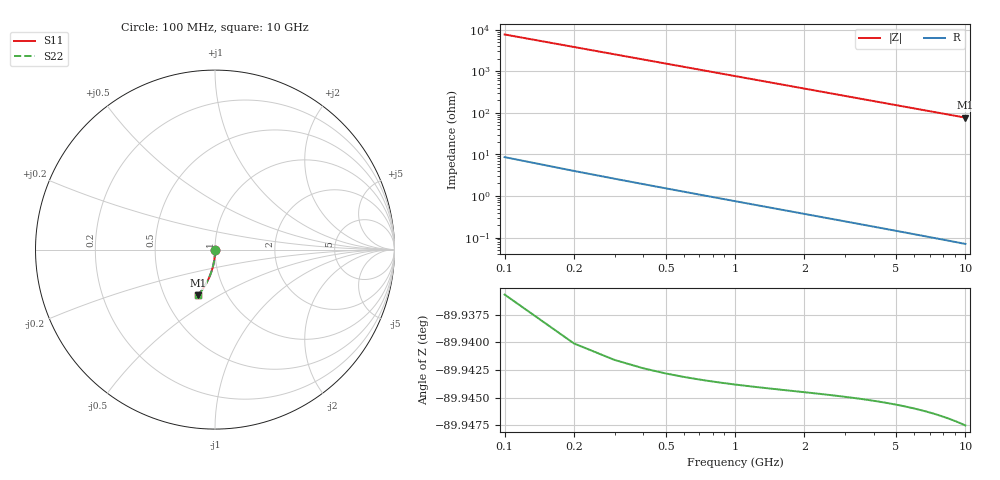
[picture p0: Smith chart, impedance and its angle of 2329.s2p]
# Hz S RI R 50.00
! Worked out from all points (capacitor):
!   100 points, 100 MHz to 10 GHz, reference 50 ohm
!   read as one part in shunt: C = 207 fF near 100 MHz
!   lowest |Z| = 76.8 ohm at 10 GHz (marker M1)
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1e8  0.000171 -0.00284  0.9998 -0.00368  0.9998 -0.00368  0.000171 -0.00284
2e8  0.000138 -0.00568  0.9998 -0.00735  0.9998 -0.00735  0.000138 -0.00568
3e8  8.34e-05 -0.00852  0.9997 -0.011  0.9997 -0.011  8.34e-05 -0.00852
4e8  7.83e-06 -0.0114  0.9996 -0.0147  0.9996 -0.0147  7.83e-06 -0.0114
5e8  -8.87e-05 -0.0142  0.9995 -0.0184  0.9995 -0.0184  -8.87e-05 -0.0142
6e8  -0.000206 -0.017  0.9994 -0.0221  0.9994 -0.0221  -0.000206 -0.017
7e8  -0.000345 -0.0199  0.9993 -0.0257  0.9993 -0.0257  -0.000345 -0.0199
8e8  -0.000504 -0.0227  0.9991 -0.0294  0.9991 -0.0294  -0.000504 -0.0227
9e8  -0.000684 -0.0256  0.9989 -0.0331  0.9989 -0.0331  -0.000684 -0.0256
1.1e9  -0.00111 -0.0312  0.9985 -0.0404  0.9985 -0.0404  -0.00111 -0.0312
1.4e9  -0.0019 -0.0397  0.9976 -0.0514  0.9976 -0.0514  -0.0019 -0.0397
1.8e9  -0.00324 -0.051  0.9963 -0.066  0.9963 -0.066  -0.00324 -0.051
2.1e9  -0.00447 -0.0594  0.995 -0.077  0.995 -0.077  -0.00447 -0.0594
2.5e9  -0.00639 -0.0706  0.993 -0.0915  0.993 -0.0915  -0.00639 -0.0706
2.9e9  -0.00863 -0.0817  0.9907 -0.106  0.9907 -0.106  -0.00863 -0.0817
3.4e9  -0.0119 -0.0955  0.9873 -0.1239  0.9873 -0.1239  -0.0119 -0.0955
4.2e9  -0.0181 -0.1172  0.9809 -0.1523  0.9809 -0.1523  -0.0181 -0.1172
5.1e9  -0.0266 -0.141  0.9721 -0.1837  0.9721 -0.1837  -0.0266 -0.141
5.9e9  -0.0354 -0.1616  0.963 -0.2111  0.963 -0.2111  -0.0354 -0.1616
6.7e9  -0.0453 -0.1815  0.9527 -0.2377  0.9527 -0.2377  -0.0453 -0.1815
8.4e9  -0.0697 -0.2213  0.9274 -0.292  0.9274 -0.292  -0.0697 -0.2213
1e10  -0.0964 -0.2552  0.8996 -0.3395  0.8996 -0.3395  -0.0964 -0.2552
